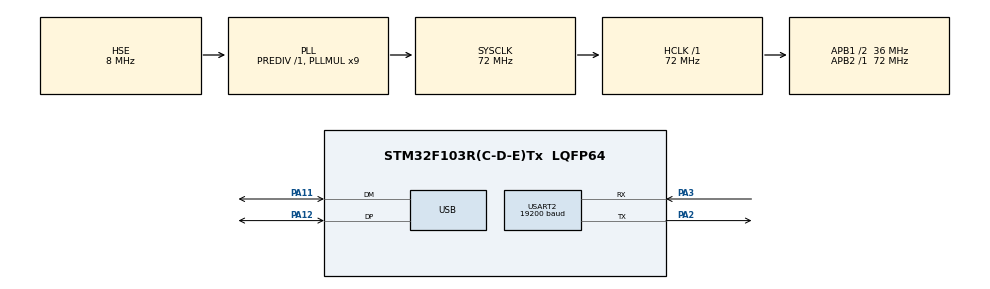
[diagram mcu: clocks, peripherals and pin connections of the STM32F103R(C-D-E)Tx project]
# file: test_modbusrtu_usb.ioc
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Mcu.Family=STM32F1
Mcu.Name=STM32F103R(C-D-E)Tx
Mcu.Package=LQFP64
NVIC.PriorityGroup=NVIC_PRIORITYGROUP_4
NVIC.TIM3_IRQn=true\:0\:0\:false\:false\:true\:true\:true\:true
NVIC.USART2_IRQn=true\:0\:0\:false\:false\:true\:true\:true\:true
PA11.Mode=Device
PA11.Signal=USB_DM
PA12.Mode=Device
PA12.Signal=USB_DP
PA13.Mode=Serial_Wire
PA13.Signal=SYS_JTMS-SWDIO
PA14.Mode=Serial_Wire
PA14.Signal=SYS_JTCK-SWCLK
PA2.Mode=Asynchronous
PA2.Signal=USART2_TX
PA3.Mode=Asynchronous
PA3.Signal=USART2_RX
PD0-OSC_IN.Mode=HSE-External-Oscillator
PD0-OSC_IN.Signal=RCC_OSC_IN
PD1-OSC_OUT.Mode=HSE-External-Oscillator
PD1-OSC_OUT.Signal=RCC_OSC_OUT
ProjectManager.HeapSize=0x200
ProjectManager.StackSize=0x400
ProjectManager.TargetToolchain=Makefile
RCC.AHBFreq_Value=72000000
RCC.APB1CLKDivider=RCC_HCLK_DIV2
RCC.APB1Freq_Value=36000000
RCC.APB1TimFreq_Value=72000000
RCC.APB2Freq_Value=72000000
RCC.APB2TimFreq_Value=72000000
RCC.HCLKFreq_Value=72000000
RCC.PLLMUL=RCC_PLL_MUL9
RCC.PLLSourceVirtual=RCC_PLLSOURCE_HSE
RCC.SYSCLKFreq_VALUE=72000000
RCC.SYSCLKSource=RCC_SYSCLKSOURCE_PLLCLK
RCC.USBFreq_Value=48000000
RCC.USBPrescaler=RCC_USBCLKSOURCE_PLL_DIV1_5
TIM3.Period=49
TIM3.Prescaler=71
USART2.BaudRate=19200
USART2.VirtualMode=VM_ASYNC
VP_IWDG_VS_IWDG.Mode=IWDG_Activate
VP_TIM3_VS_ClockSourceINT.Mode=Internal
board=custom

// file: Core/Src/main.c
/* USER CODE BEGIN Header */
/**
  ******************************************************************************
  * @file           : main.c
  * @brief          : Main program body
  ******************************************************************************
  * @attention
  *
  * Copyright (c) 2023 STMicroelectronics.
  * All rights reserved.
  *
  * This software is licensed under terms that can be found in the LICENSE file
  * in the root directory of this software component.
  * If no LICENSE file comes with this software, it is provided AS-IS.
  *
  ******************************************************************************
  */
/* USER CODE END Header */
#include "main.h"

/* USER CODE BEGIN Includes */
#include <stdlib.h>
#include <string.h>
#include <errno.h>
#include <stdio.h>
#include <unistd.h>

#include "usb_device.h"
#include "usart.h"
#include "tim.h"
#include "timeout.h"

#include "mb.h"
#include "mbport.h"
#include "user_mb_app.h"
#include "mbconfig.h"
#include "mbframe.h"
#include "mb_m.h"
#include "user_mb_app_m.h"
/* USER CODE END Includes */

/* USER CODE BEGIN PM */
int _write(int file, char *data, int len);

uint32_t tick;
/* USER CODE END PM */

IWDG_HandleTypeDef hiwdg;

// TIM_HandleTypeDef htim3;

// UART_HandleTypeDef huart2;

// PCD_HandleTypeDef hpcd_USB_FS;

void SystemClock_Config(void);
static void MX_GPIO_Init(void);
static void MX_IWDG_Init(void);

int main(void)
{

  /* MCU Configuration--------------------------------------------------------*/

  /* Reset of all peripherals, Initializes the Flash interface and the Systick. */
  HAL_Init();

  /* Configure the system clock */
  SystemClock_Config();

  /* Initialize all configured peripherals */
  MX_GPIO_Init();
  MX_TIM3_Init();
  MX_USART2_UART_Init();

  // MX_IWDG_Init();
  /* USER CODE BEGIN 2 */

  MX_USB_DEVICE_Init();
  eMBMasterInit(MB_RTU, &huart2, 19200, &htim3);
  eMBMasterEnable();

  /* USER CODE END 2 */

  /* Infinite loop */
  /* USER CODE BEGIN WHILE */
  while (1)
  {
    eMBMasterPoll();
    if(HAL_GetTick() - tick > 1000){
      // printf("Hello\n"); // test usb
      // HAL_UART_Transmit(&huart2, (uint8_t*)"helloo\n", sizeof("helloo"), 100); // test uart2

      printf("status: %d\n", eMBMasterReqReadHoldingRegister(1, 0, 2, 100));
      printf("data = %d\n", usMRegHoldBuf[0][0]);
      tick = HAL_GetTick();

    }
    // HAL_IWDG_Refresh(&hiwdg);
    /* USER CODE END WHILE */

  }
}

void SystemClock_Config(void)
{
  RCC_OscInitTypeDef RCC_OscInitStruct = {0};
  RCC_ClkInitTypeDef RCC_ClkInitStruct = {0};
  RCC_PeriphCLKInitTypeDef PeriphClkInit = {0};

  /** Initializes the RCC Oscillators according to the specified parameters
  * in the RCC_OscInitTypeDef structure.
  */
  RCC_OscInitStruct.OscillatorType = RCC_OSCILLATORTYPE_LSI|RCC_OSCILLATORTYPE_HSE;
  RCC_OscInitStruct.HSEState = RCC_HSE_ON;
  RCC_OscInitStruct.HSEPredivValue = RCC_HSE_PREDIV_DIV1;
  RCC_OscInitStruct.HSIState = RCC_HSI_ON;
  RCC_OscInitStruct.LSIState = RCC_LSI_ON;
  RCC_OscInitStruct.PLL.PLLState = RCC_PLL_ON;
  RCC_OscInitStruct.PLL.PLLSource = RCC_PLLSOURCE_HSE;
  RCC_OscInitStruct.PLL.PLLMUL = RCC_PLL_MUL9;
  if (HAL_RCC_OscConfig(&RCC_OscInitStruct) != HAL_OK)
  {
    Error_Handler();
  }

  /** Initializes the CPU, AHB and APB buses clocks
  */
  RCC_ClkInitStruct.ClockType = RCC_CLOCKTYPE_HCLK|RCC_CLOCKTYPE_SYSCLK
                              |RCC_CLOCKTYPE_PCLK1|RCC_CLOCKTYPE_PCLK2;
  RCC_ClkInitStruct.SYSCLKSource = RCC_SYSCLKSOURCE_PLLCLK;
  RCC_ClkInitStruct.AHBCLKDivider = RCC_SYSCLK_DIV1;
  RCC_ClkInitStruct.APB1CLKDivider = RCC_HCLK_DIV2;
  RCC_ClkInitStruct.APB2CLKDivider = RCC_HCLK_DIV1;

  if (HAL_RCC_ClockConfig(&RCC_ClkInitStruct, FLASH_LATENCY_2) != HAL_OK)
  {
    Error_Handler();
  }
  PeriphClkInit.PeriphClockSelection = RCC_PERIPHCLK_USB;
  PeriphClkInit.UsbClockSelection = RCC_USBCLKSOURCE_PLL_DIV1_5;
  if (HAL_RCCEx_PeriphCLKConfig(&PeriphClkInit) != HAL_OK)
  {
    Error_Handler();
  }
}

static void MX_IWDG_Init(void)
{

  hiwdg.Instance = IWDG;
  hiwdg.Init.Prescaler = IWDG_PRESCALER_4;
  hiwdg.Init.Reload = 4095;
  if (HAL_IWDG_Init(&hiwdg) != HAL_OK)
  {
    Error_Handler();
  }

}

static void MX_GPIO_Init(void)
{

  /* GPIO Ports Clock Enable */
  __HAL_RCC_GPIOD_CLK_ENABLE();
  __HAL_RCC_GPIOA_CLK_ENABLE();

}

/* USER CODE BEGIN 4 */
int _write(int file, char *data, int len)
{
  if ((file != STDOUT_FILENO) && (file != STDERR_FILENO))
  {
    errno = EBADF;
    return -1;
  }
  uint8_t status = CDC_Transmit_FS((uint8_t *)data, len);
  return status;
}
/* USER CODE END 4 */

void Error_Handler(void)
{
  __disable_irq();
  while (1)
  {
  }
}
